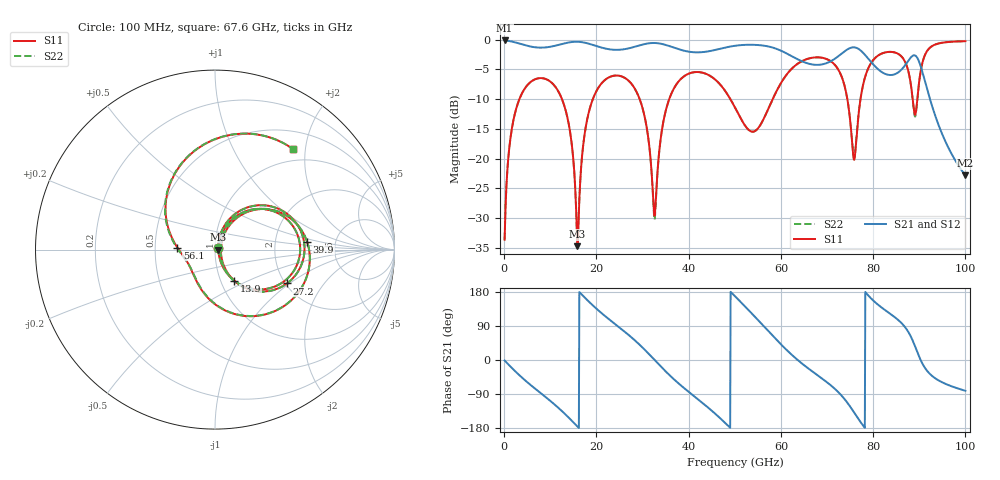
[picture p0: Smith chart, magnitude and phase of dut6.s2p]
! Touchstone file exported from HFSS 2026.1.0
!  File:  C:/ffzhzh/LocalFiles/Ansys_Project_Files/temp_train_TSV_RDL_6_1783611935_26216.aedt
!  Generated:  11:54:06 PM Jul  9, 2026
!  Design:  TSV_RDL
!  Project:  temp_train_TSV_RDL_6_1783611935_26216
! Variables:
!  h_bsmrdl = 2.69um
!  h_ox = 20um
!  h_rdl = 5um
!  h_sub = 90.13um
!  h_tmrdl = 4.44um
!  h_tsv = 90.13um
!  h_via = 3um
!  l_bsmrdl = 405.05um
!  l_sub = 3442.01um
!  l_tmrdl = 426.01um
!  m_sub = 200um
!  pitch = 52.68um
!  r_tsv = 14.16um
!  s_tmrdl = 10um
!  w_bsmrdl = 14.86um
!  w_sub = 500um
!  w_tmrdl = 26.08um
!  x_tsv_center1 = 439.05um
!  x_tsv_center2 = 858.96um
!  x_tsv_center3 = 1311.05um
!  x_tsv_center4 = 1730.96um
!  x_tsv_center5 = 2183.05um
!  x_tsv_center6 = 2602.96um
# GHz S MA R 50.000000
! Terminal data exported
! Port[1] = TM_RDL1_1_T1
! Port[2] = TM_RDL5_1_T1
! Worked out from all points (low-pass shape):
!   1000 points, 100 MHz to 100 GHz, reference 50 ohm
!   highest |S21| = -0.15 dB at 100 MHz (marker M1); lowest = -22.8 dB at 100 GHz (marker M2)
!   |S21| within 3 dB of the highest: start of sweep to 63.22 GHz; 71.83 GHz to 78.87 GHz (7.041 GHz wide, 9.34 % of centre) (the widest 2 of 3)
!   lowest |S11| = -34.7 dB at 15.9 GHz (marker M3), VSWR 1.04, Z = 51.9 - j0.0542 ohm
!   |S11| at or under -10 dB: 12.53 GHz to 19.23 GHz (6.699 GHz wide, 42.2 % of centre); 29.38 GHz to 35.79 GHz (6.413 GHz wide, 19.7 % of centre); 49.04 GHz to 58.23 GHz (9.186 GHz wide, 17.1 % of centre) (the widest 3 of 6)
!   |S22| runs from -34.3 to -0.3 dB; largest |S21 - S12| = 1.6e-14
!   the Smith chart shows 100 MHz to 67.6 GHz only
!   S11 on the Smith chart (normalised r, x): 100 MHz: 1.03, +0.02; 13.9 GHz: 1.16, -0.42; 27.2 GHz: 2.03, -0.95; 39.9 GHz: 3.07, +0.37; 56.1 GHz: 0.65, +0.01; 67.6 GHz: 0.79, +1.77
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0.1  0.0208 34.0  0.983 -1.3  0.983 -1.3  0.0208 34.0
! Gamma 0 0 0 0
! Port Impedance 50 0 50 0
1.6  0.1713 62.5  0.9634 -20.2  0.9634 -20.2  0.1713 62.5
4.4  0.3839 34.4  0.8992 -52.2  0.8992 -52.2  0.3839 34.4
13.9  0.2047 -58.1  0.9437 -150.9  0.9437 -150.9  0.2047 -58.0
15.9  0.01837 -1.6  0.9585 -175.7  0.9585 -175.7  0.01919 -1.3
16.8  0.09555 70.5  0.9518 173.1  0.9518 173.1  0.0958 69.9
20.3  0.3867 39.1  0.875 132.2  0.875 132.2  0.3869 38.9
27.2  0.4424 -25.2  0.8471 63.9  0.8471 63.9  0.4425 -25.5
32.5  0.03497 -19.1  0.9362 1.6  0.9362 1.6  0.03281 -20.7
33.4  0.09265 58.2  0.9308 -9.9  0.9308 -9.9  0.0917 59.5
39.9  0.5148 4.9  0.7927 -83.0  0.7927 -83.0  0.5147 5.2
50.1  0.2664 -99.8  0.8876 167.7  0.8876 167.7  0.2667 -98.9
56.1  0.2096 177.1  0.8913 91.8  0.8913 91.8  0.2092 178.5
60.9  0.4872 116.2  0.7765 30.6  0.7765 30.6  0.4867 116.7
66.7  0.7025 59.5  0.6187 -29.2  0.6187 -29.2  0.7023 59.8
67.6  0.7087 52.1  0.6132 -37.2  0.6132 -37.2  0.7085 52.3
73  0.5067 4.5  0.753 -91.9  0.753 -91.9  0.5069 4.8
75.9  0.09754 42.8  0.8603 -138.9  0.8603 -138.9  0.1006 42.7
83.4  0.7879 34.0  0.5047 124.6  0.5047 124.6  0.7877 33.7
89.6  0.3231 60.3  0.6991 20.0  0.6991 20.0  0.3174 61.2
91.8  0.8127 46.3  0.3721 -30.1  0.3721 -30.1  0.8116 46.6
100  0.9695 4.9  0.07222 -81.2  0.07222 -81.2  0.9693 4.9
